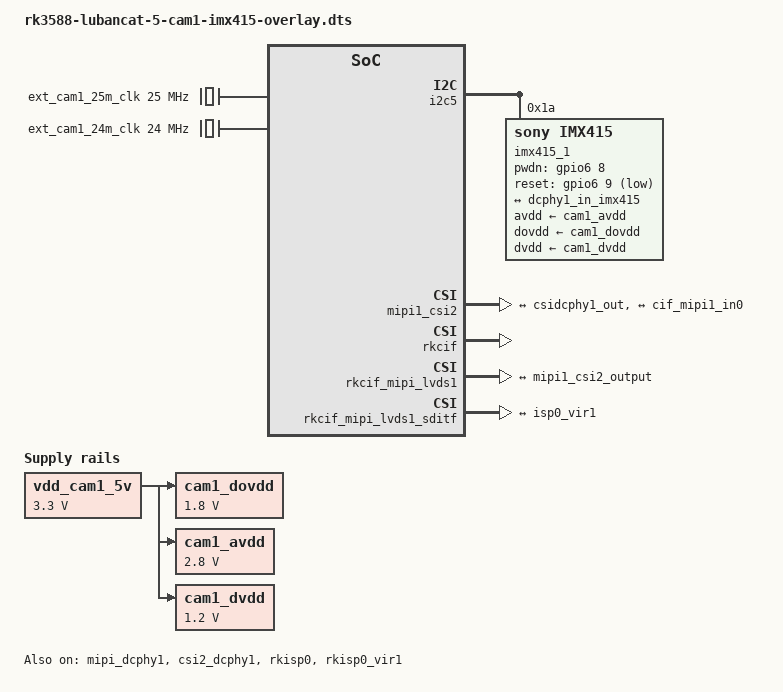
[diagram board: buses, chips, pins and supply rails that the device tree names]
/dts-v1/;
/plugin/;

#include <dt-bindings/usb/pd.h>
#include <dt-bindings/gpio/gpio.h>
#include <dt-bindings/pwm/pwm.h>
#include <dt-bindings/pinctrl/rockchip.h>
#include <dt-bindings/input/rk-input.h>
#include <dt-bindings/display/drm_mipi_dsi.h>
#include <dt-bindings/display/rockchip_vop.h>
#include <dt-bindings/sensor-dev.h>

/ {
	fragment@0 {
		target-path = "/";

		__overlay__ {
			ext_cam1_25m_clk: external-camera-25m-clock {
				compatible = "fixed-clock";
				clock-frequency = <25000000>;
				clock-output-names = "ext_cam_25m_clk";
				#clock-cells = <0>;
			};

			ext_cam1_24m_clk: external-camera-24m-clock {
				compatible = "fixed-clock";
				#clock-cells = <0>;
				clock-frequency = <24000000>;
				clock-output-names = "ext_cam_24m_clk";
			};

			vdd_cam1_5v: vdd-cam1-5v-regulator {
				compatible = "regulator-fixed";
				regulator-name = "vdd_cam_5v";
				regulator-always-on;
				regulator-boot-on;
				regulator-min-microvolt = <3300000>;
				regulator-max-microvolt = <3300000>;
			};

			cam1_dovdd: cam1-dovdd {
				compatible = "regulator-fixed";
				regulator-name = "cam_dovdd";
				regulator-always-on;
				regulator-boot-on;
				regulator-min-microvolt = <1800000>;
				regulator-max-microvolt = <1800000>;
				vin-supply = <&vdd_cam1_5v>;
			};

			cam1_avdd: cam1-avdd {
				compatible = "regulator-fixed";
				regulator-name = "cam_avdd";
				regulator-always-on;
				regulator-boot-on;
				regulator-min-microvolt = <2800000>;
				regulator-max-microvolt = <2800000>;
				vin-supply = <&vdd_cam1_5v>;
			};

			cam1_dvdd: cam1-dvdd {
				compatible = "regulator-fixed";
				regulator-name = "cam_dvdd";
				regulator-always-on;
				regulator-boot-on;
				regulator-min-microvolt = <1200000>;
				regulator-max-microvolt = <1200000>;
				vin-supply = <&vdd_cam1_5v>;
			};
		};
	};

/* Link path: sensor->csi2_dcphy1->mipi1_csi2->rkcif_mipi_lvds1--->rkcif_mipi_lvds1_sditf->rkisp0_vir1 */
	fragment@1 {
		target = <&i2c5>;
		__overlay__ {
			status = "okay";
			pinctrl-names = "default";
			pinctrl-0 = <&i2c5m2_xfer>;
			#address-cells = <1>;
			#size-cells = <0>;

			imx415_1: imx415-1@1a {
				compatible = "sony,imx415";
				status = "okay";
				reg = <0x1a>;
				clocks = <&ext_cam1_24m_clk>;
				clock-names = "xvclk";
				// power-domains = <&power RK3588_PD_VI>;
				avdd-supply = <&cam1_avdd>;
				dovdd-supply = <&cam1_dovdd>;
				dvdd-supply = <&cam1_dvdd>;
				pwdn-gpios = <&gpio6 8 GPIO_ACTIVE_HIGH>;
				reset-gpios = <&gpio6 9 GPIO_ACTIVE_LOW>;

				rockchip,camera-module-index = <1>;
				rockchip,camera-module-facing = "back";
				rockchip,camera-module-name = "CMK-OT2022-PX1";
				rockchip,camera-module-lens-name = "IR0147-50IRC-8M-F20";
				port {
					imx415_out1: endpoint {
						remote-endpoint = <&dcphy1_in_imx415>;
						data-lanes = <1 2 3 4>;
					};
				};
			};
		};
	};

	fragment@2 {
		target = <&mipi_dcphy1>;

		__overlay__ {
			status = "okay";
		};
	};


	fragment@3 {
		target = <&csi2_dcphy1>;

		__overlay__ {
			status = "okay";
			
			ports {
				#address-cells = <1>;
				#size-cells = <0>;

				port@0 {
					reg = <0>;
					#address-cells = <1>;
					#size-cells = <0>;

					dcphy1_in_imx415: endpoint@5 {
						reg = <5>;
						remote-endpoint = <&imx415_out1>;
						data-lanes = <1 2 3 4>;
					};
				};

				port@1 {
					reg = <1>;
					#address-cells = <1>;
					#size-cells = <0>;

					csidcphy1_out: endpoint@0 {
						reg = <0>;
						remote-endpoint = <&mipi1_csi2_input>;
					};
				};
			};
		};
	};

	fragment@4 {
		target = <&mipi1_csi2>;

		__overlay__ {
			status = "okay";

			ports {
				#address-cells = <1>;
				#size-cells = <0>;

				port@0 {
					reg = <0>;
					#address-cells = <1>;
					#size-cells = <0>;

					mipi1_csi2_input: endpoint@1 {
						reg = <1>;
						remote-endpoint = <&csidcphy1_out>;
					};
				};

				port@1 {
					reg = <1>;
					#address-cells = <1>;
					#size-cells = <0>;

					mipi1_csi2_output: endpoint@0 {
						reg = <0>;
						remote-endpoint = <&cif_mipi1_in0>;
					};
				};
			};
		};
	};

	fragment@5 {
		target = <&rkcif>;

		__overlay__ {
			status = "okay";
		};
	};

	fragment@6 {
		target = <&rkcif_mipi_lvds1>;

		__overlay__ {
			status = "okay";

			port {
				cif_mipi1_in0: endpoint {
					remote-endpoint = <&mipi1_csi2_output>;
				};
			};
		};
	};

	fragment@7 {
		target = <&rkcif_mipi_lvds1_sditf>;

		__overlay__ {
			status = "okay";

			port {
				mipi_lvds1_sditf: endpoint {
					remote-endpoint = <&isp0_vir1>;
				};
			};
		};
	};

	fragment@8 {
		target = <&rkcif_mmu>;

		__overlay__ {
			status = "okay";
		};
	};

	fragment@9 {
		target = <&rkisp0>;

		__overlay__ {
			status = "okay";
		};
	};

	fragment@10 {
		target = <&isp0_mmu>;

		__overlay__ {
			status = "okay";
		};
	};

	fragment@11 {
		target = <&rkisp0_vir1>;

		__overlay__ {
			status = "okay";

			port {
				#address-cells = <1>;
				#size-cells = <0>;

				isp0_vir1: endpoint@0 {
					reg = <0>;
					remote-endpoint = <&mipi_lvds1_sditf>;
				};
			};
		};
	};

};

